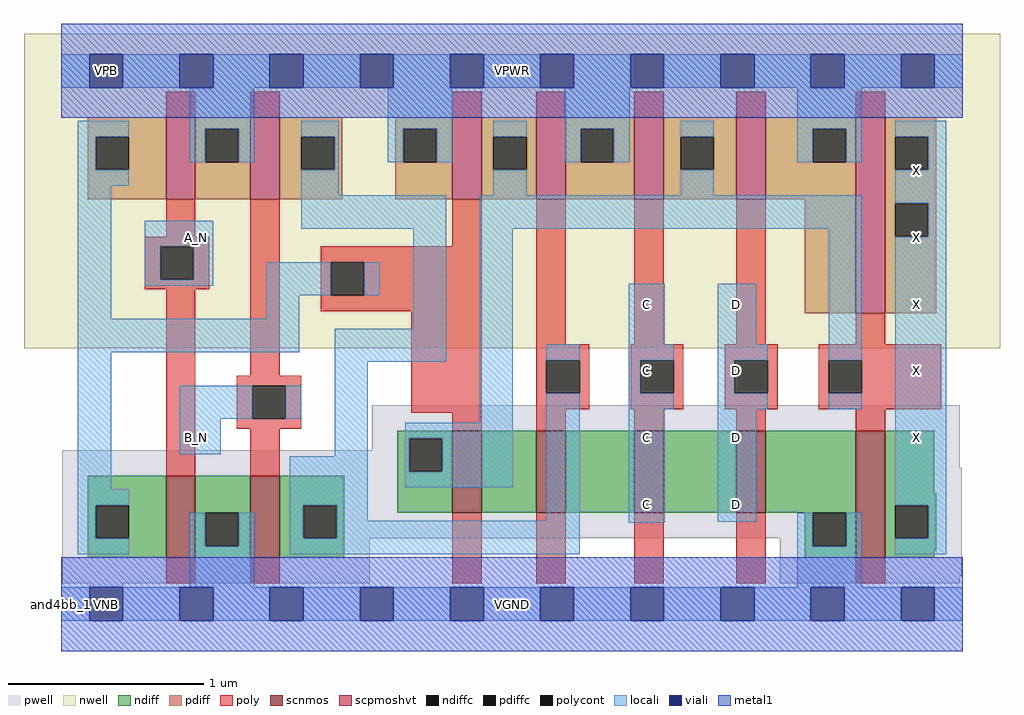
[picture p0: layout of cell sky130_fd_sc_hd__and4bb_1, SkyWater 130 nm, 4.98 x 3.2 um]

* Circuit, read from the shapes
.subckt sky130_fd_sc_hd__and4bb_1 A_N B_N C D VGND VNB VPB VPWR X
XM1 VGND A_N n1 VNB sky130_fd_pr__nfet_01v8 w=0.42 l=0.15
XM2 n2 B_N VGND VNB sky130_fd_pr__nfet_01v8 w=0.42 l=0.15
XM3 n3 n1 n4 VNB sky130_fd_pr__nfet_01v8 w=0.42 l=0.15
XM4 n5 n2 n3 VNB sky130_fd_pr__nfet_01v8 w=0.42 l=0.15
XM5 n6 C n5 VNB sky130_fd_pr__nfet_01v8 w=0.42 l=0.15
XM6 VGND D n6 VNB sky130_fd_pr__nfet_01v8 w=0.42 l=0.15
XM7 X n4 VGND VNB sky130_fd_pr__nfet_01v8 w=0.65 l=0.15
XM8 VPWR A_N n1 VPB sky130_fd_pr__pfet_01v8_hvt w=0.42 l=0.15
XM9 n2 B_N VPWR VPB sky130_fd_pr__pfet_01v8_hvt w=0.42 l=0.15
XM10 n4 n1 VPWR VPB sky130_fd_pr__pfet_01v8_hvt w=0.42 l=0.15
XM11 VPWR n2 n4 VPB sky130_fd_pr__pfet_01v8_hvt w=0.42 l=0.15
XM12 n4 C VPWR VPB sky130_fd_pr__pfet_01v8_hvt w=0.42 l=0.15
XM13 VPWR D n4 VPB sky130_fd_pr__pfet_01v8_hvt w=0.42 l=0.15
XM14 X n4 VPWR VPB sky130_fd_pr__pfet_01v8_hvt w=1 l=0.15
.ends

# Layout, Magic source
magic
tech sky130A
magscale 1 2
<< nwell >>
rect -38 261 958 582
<< pwell >>
rect 317 157 917 203
rect 1 139 917 157
rect 1 67 919 139
rect 1 21 315 67
rect 733 29 919 67
rect 733 21 917 29
rect 29 -17 63 21
<< scnmos >>
rect 107 47 137 131
rect 193 47 223 131
rect 399 93 429 177
rect 485 93 515 177
rect 585 93 615 177
rect 689 93 719 177
rect 811 47 841 177
<< scpmoshvt >>
rect 107 413 137 497
rect 193 413 223 497
rect 399 413 429 497
rect 485 413 515 497
rect 585 413 615 497
rect 689 413 719 497
rect 811 297 841 497
<< ndiff >>
rect 343 169 399 177
rect 343 135 355 169
rect 389 135 399 169
rect 27 101 107 131
rect 27 67 35 101
rect 69 67 107 101
rect 27 47 107 67
rect 137 93 193 131
rect 137 59 147 93
rect 181 59 193 93
rect 137 47 193 59
rect 223 101 289 131
rect 223 67 247 101
rect 281 67 289 101
rect 343 93 399 135
rect 429 93 485 177
rect 515 93 585 177
rect 615 93 689 177
rect 719 93 811 177
rect 223 47 289 67
rect 759 59 767 93
rect 801 59 811 93
rect 759 47 811 59
rect 841 113 891 177
rect 841 101 893 113
rect 841 67 851 101
rect 885 67 893 101
rect 841 55 893 67
rect 841 47 891 55
<< pdiff >>
rect 27 477 107 497
rect 27 443 35 477
rect 69 443 107 477
rect 27 413 107 443
rect 137 485 193 497
rect 137 451 147 485
rect 181 451 193 485
rect 137 413 193 451
rect 223 477 287 497
rect 223 443 245 477
rect 279 443 287 477
rect 223 413 287 443
rect 341 485 399 497
rect 341 451 349 485
rect 383 451 399 485
rect 341 413 399 451
rect 429 477 485 497
rect 429 443 441 477
rect 475 443 485 477
rect 429 413 485 443
rect 515 485 585 497
rect 515 451 530 485
rect 564 451 585 485
rect 515 413 585 451
rect 615 477 689 497
rect 615 443 632 477
rect 666 443 689 477
rect 615 413 689 443
rect 719 485 811 497
rect 719 451 767 485
rect 801 451 811 485
rect 719 413 811 451
rect 759 297 811 413
rect 841 477 893 497
rect 841 443 851 477
rect 885 443 893 477
rect 841 409 893 443
rect 841 375 851 409
rect 885 375 893 409
rect 841 297 893 375
<< ndiffc >>
rect 355 135 389 169
rect 35 67 69 101
rect 147 59 181 93
rect 247 67 281 101
rect 767 59 801 93
rect 851 67 885 101
<< pdiffc >>
rect 35 443 69 477
rect 147 451 181 485
rect 245 443 279 477
rect 349 451 383 485
rect 441 443 475 477
rect 530 451 564 485
rect 632 443 666 477
rect 767 451 801 485
rect 851 443 885 477
rect 851 375 885 409
<< poly >>
rect 107 497 137 523
rect 193 497 223 523
rect 399 497 429 523
rect 485 497 515 523
rect 585 497 615 523
rect 689 497 719 523
rect 811 497 841 523
rect 107 375 137 413
rect 85 365 151 375
rect 85 331 101 365
rect 135 331 151 365
rect 85 321 151 331
rect 107 131 137 321
rect 193 233 223 413
rect 399 365 429 413
rect 265 349 429 365
rect 265 315 275 349
rect 309 315 429 349
rect 265 299 429 315
rect 179 223 245 233
rect 179 189 195 223
rect 229 189 245 223
rect 357 195 429 299
rect 179 179 245 189
rect 193 131 223 179
rect 399 177 429 195
rect 485 265 515 413
rect 585 265 615 413
rect 689 265 719 413
rect 811 265 841 297
rect 485 249 539 265
rect 485 215 495 249
rect 529 215 539 249
rect 485 199 539 215
rect 581 249 635 265
rect 581 215 591 249
rect 625 215 635 249
rect 581 199 635 215
rect 677 249 731 265
rect 677 215 687 249
rect 721 215 731 249
rect 677 199 731 215
rect 773 249 898 265
rect 773 215 783 249
rect 817 215 898 249
rect 773 199 898 215
rect 485 177 515 199
rect 585 177 615 199
rect 689 177 719 199
rect 811 177 841 199
rect 107 21 137 47
rect 193 21 223 47
rect 399 21 429 93
rect 485 21 515 93
rect 585 21 615 93
rect 689 21 719 93
rect 811 21 841 47
<< polycont >>
rect 101 331 135 365
rect 275 315 309 349
rect 195 189 229 223
rect 495 215 529 249
rect 591 215 625 249
rect 687 215 721 249
rect 783 215 817 249
<< locali >>
rect 0 527 29 561
rect 63 527 121 561
rect 155 527 213 561
rect 247 527 305 561
rect 339 527 397 561
rect 431 527 489 561
rect 523 527 581 561
rect 615 527 673 561
rect 707 527 765 561
rect 799 527 857 561
rect 891 527 920 561
rect 17 477 69 493
rect 17 443 35 477
rect 131 485 197 527
rect 131 451 147 485
rect 181 451 197 485
rect 245 477 283 493
rect 17 427 69 443
rect 279 443 283 477
rect 333 485 399 527
rect 333 451 349 485
rect 383 451 399 485
rect 441 477 475 493
rect 17 291 51 427
rect 245 417 283 443
rect 514 485 580 527
rect 514 451 530 485
rect 564 451 580 485
rect 632 477 666 493
rect 441 417 475 443
rect 751 485 817 527
rect 751 451 767 485
rect 801 451 817 485
rect 851 477 903 493
rect 632 417 666 443
rect 885 443 903 477
rect 85 365 155 391
rect 245 383 393 417
rect 85 331 101 365
rect 135 331 155 365
rect 85 325 155 331
rect 209 315 275 349
rect 309 315 325 349
rect 209 291 243 315
rect 17 257 243 291
rect 359 281 393 383
rect 17 117 51 257
rect 279 247 393 281
rect 427 383 817 417
rect 121 189 195 223
rect 229 189 245 223
rect 121 153 163 189
rect 279 151 313 247
rect 427 185 461 383
rect 579 265 616 327
rect 670 265 709 327
rect 17 101 69 117
rect 17 67 35 101
rect 233 101 313 151
rect 351 169 461 185
rect 351 135 355 169
rect 389 135 461 169
rect 351 119 461 135
rect 495 249 529 265
rect 17 51 69 67
rect 131 59 147 93
rect 181 59 197 93
rect 131 17 197 59
rect 233 67 247 101
rect 281 85 313 101
rect 495 85 529 215
rect 281 67 529 85
rect 579 249 625 265
rect 579 215 591 249
rect 579 199 625 215
rect 670 249 721 265
rect 670 215 687 249
rect 670 199 721 215
rect 783 249 817 383
rect 783 199 817 215
rect 851 409 903 443
rect 885 375 903 409
rect 579 83 616 199
rect 670 84 709 199
rect 851 101 903 375
rect 233 51 529 67
rect 751 59 767 93
rect 801 59 817 93
rect 751 17 817 59
rect 885 67 903 101
rect 851 51 903 67
rect 0 -17 29 17
rect 63 -17 121 17
rect 155 -17 213 17
rect 247 -17 305 17
rect 339 -17 397 17
rect 431 -17 489 17
rect 523 -17 581 17
rect 615 -17 673 17
rect 707 -17 765 17
rect 799 -17 857 17
rect 891 -17 920 17
<< viali >>
rect 29 527 63 561
rect 121 527 155 561
rect 213 527 247 561
rect 305 527 339 561
rect 397 527 431 561
rect 489 527 523 561
rect 581 527 615 561
rect 673 527 707 561
rect 765 527 799 561
rect 857 527 891 561
rect 29 -17 63 17
rect 121 -17 155 17
rect 213 -17 247 17
rect 305 -17 339 17
rect 397 -17 431 17
rect 489 -17 523 17
rect 581 -17 615 17
rect 673 -17 707 17
rect 765 -17 799 17
rect 857 -17 891 17
<< metal1 >>
rect 0 561 920 592
rect 0 527 29 561
rect 63 527 121 561
rect 155 527 213 561
rect 247 527 305 561
rect 339 527 397 561
rect 431 527 489 561
rect 523 527 581 561
rect 615 527 673 561
rect 707 527 765 561
rect 799 527 857 561
rect 891 527 920 561
rect 0 496 920 527
rect 0 17 920 48
rect 0 -17 29 17
rect 63 -17 121 17
rect 155 -17 213 17
rect 247 -17 305 17
rect 339 -17 397 17
rect 431 -17 489 17
rect 523 -17 581 17
rect 615 -17 673 17
rect 707 -17 765 17
rect 799 -17 857 17
rect 891 -17 920 17
rect 0 -48 920 -17
<< labels >>
flabel pwell s 29 -17 63 17 0 FreeSans 200 0 0 0 VNB
port 6 nsew ground bidirectional
flabel nwell s 29 527 63 561 0 FreeSans 200 0 0 0 VPB
port 7 nsew power bidirectional
flabel metal1 s 29 -17 63 17 0 FreeSans 200 0 0 0 VGND
port 5 nsew ground bidirectional abutment
flabel metal1 s 29 527 63 561 0 FreeSans 200 0 0 0 VPWR
port 8 nsew power bidirectional abutment
flabel locali s 121 357 155 391 0 FreeSans 200 0 0 0 A_N
port 1 nsew signal input
flabel locali s 672 85 706 119 0 FreeSans 200 0 0 0 D
port 4 nsew signal input
flabel locali s 672 153 706 187 0 FreeSans 200 0 0 0 D
port 4 nsew signal input
flabel locali s 672 221 706 255 0 FreeSans 200 0 0 0 D
port 4 nsew signal input
flabel locali s 856 153 890 187 0 FreeSans 200 0 0 0 X
port 9 nsew signal output
flabel locali s 856 221 890 255 0 FreeSans 200 0 0 0 X
port 9 nsew signal output
flabel locali s 856 289 890 323 0 FreeSans 200 0 0 0 X
port 9 nsew signal output
flabel locali s 856 357 890 391 0 FreeSans 200 0 0 0 X
port 9 nsew signal output
flabel locali s 856 425 890 459 0 FreeSans 200 0 0 0 X
port 9 nsew signal output
flabel locali s 580 153 614 187 0 FreeSans 200 0 0 0 C
port 3 nsew signal input
flabel locali s 580 221 614 255 0 FreeSans 200 0 0 0 C
port 3 nsew signal input
flabel locali s 580 85 614 119 0 FreeSans 200 0 0 0 C
port 3 nsew signal input
flabel locali s 121 153 155 187 0 FreeSans 200 0 0 0 B_N
port 2 nsew signal input
flabel locali s 580 289 614 323 0 FreeSans 200 0 0 0 C
port 3 nsew signal input
flabel locali s 672 289 706 323 0 FreeSans 200 0 0 0 D
port 4 nsew signal input
rlabel comment s 0 0 0 0 4 and4bb_1
rlabel metal1 s 0 -48 920 48 1 VGND
port 5 nsew ground bidirectional abutment
rlabel metal1 s 0 496 920 592 1 VPWR
port 8 nsew power bidirectional abutment
<< properties >>
string FIXED_BBOX 0 0 920 544
string GDS_END 3066900
string GDS_FILE $PDKPATH/libs.ref/sky130_fd_sc_hd/gds/sky130_fd_sc_hd.gds
string GDS_START 3058560
string LEFclass CORE
string LEFsite unithd
string LEFsymmetry X Y R90
string path 0.000 0.000 23.000 0.000 
<< end >>
